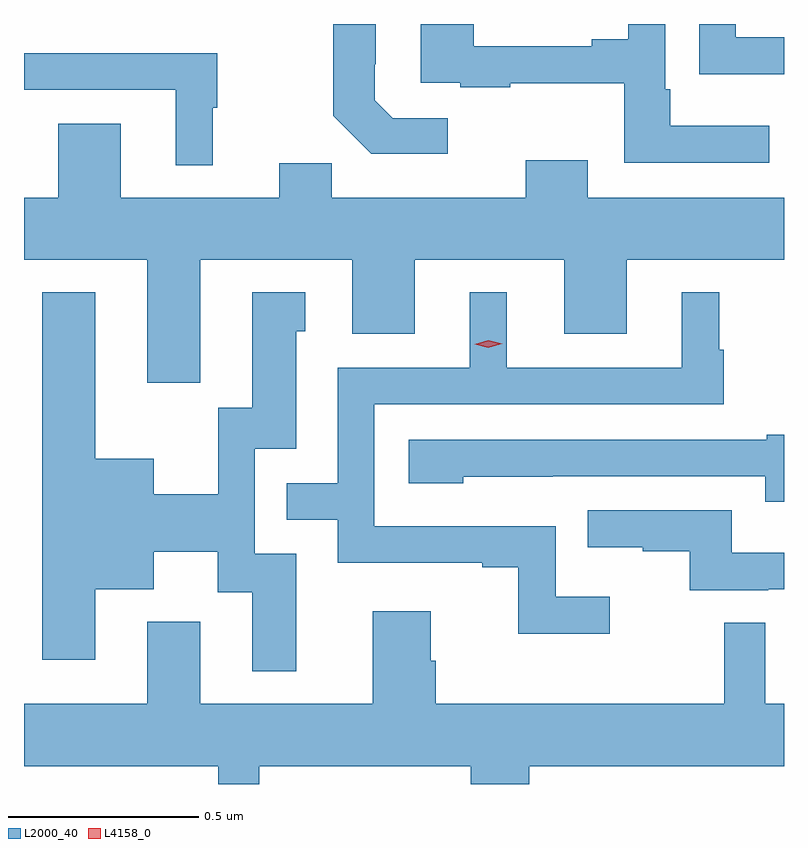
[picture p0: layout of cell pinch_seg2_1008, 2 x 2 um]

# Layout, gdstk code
import gdstk
lib = gdstk.Library(unit=1e-6, precision=1e-09)
def P(c, l, *ps):  # polygons
    for p in ps: c.add(gdstk.Polygon(p, *l))
L2000_40 = (2000, 40)
L4158_0 = (4158, 0)

pinch_seg2_1008 = lib.new_cell('pinch_seg2_1008')
P(pinch_seg2_1008, L2000_40, [(138.082,653.337),(137.937,653.337),(137.89,653.384),(137.89,653.479),(137.892,653.479),(137.892,653.585),(137.781,653.585),(137.781,653.343),(137.881,653.243),(138.082,653.243)],
  [(138.928,653.317),(138.667,653.317),(138.667,653.413),(138.654,653.413),(138.654,653.585),(138.557,653.585),(138.557,653.545),(138.461,653.545),(138.461,653.526),(138.151,653.526),(138.151,653.585),(138.011,653.585),(138.011,653.43),(138.115,653.43),(138.115,653.418),(138.247,653.418),(138.247,653.429),(138.546,653.429),(138.546,653.22),(138.928,653.22)],
  [(138.967,653.55),(138.84,653.55),(138.84,653.585),(138.744,653.585),(138.744,653.453),(138.967,653.453)],
  [(137.464,653.364),(137.476,653.364),(137.476,653.508),(136.967,653.508),(136.967,653.412),(137.366,653.412),(137.366,653.213),(137.464,653.213)],
  [(137.291,652.641),(137.431,652.641),(137.431,652.964),(137.831,652.964),(137.831,652.77),(137.995,652.77),(137.995,652.964),(138.389,652.964),(138.389,652.77),(138.553,652.77),(138.553,652.964),(138.967,652.964),(138.967,653.128),(138.451,653.128),(138.451,653.227),(138.287,653.227),(138.287,653.128),(137.777,653.128),(137.777,653.219),(137.639,653.219),(137.639,653.128),(137.221,653.128),(137.221,653.323),(137.057,653.323),(137.057,653.128),(136.967,653.128),(136.967,652.964),(137.291,652.964)],
  [(138.508,652.078),(138.366,652.078),(138.366,652.263),(137.889,652.263),(137.889,652.584),(138.808,652.584),(138.808,652.728),(138.796,652.728),(138.796,652.879),(138.698,652.879),(138.698,652.68),(138.238,652.68),(138.238,652.879),(138.14,652.879),(138.14,652.68),(137.793,652.68),(137.793,652.377),(137.659,652.377),(137.659,652.281),(137.793,652.281),(137.793,652.167),(138.173,652.167),(138.173,652.155),(138.268,652.155),(138.268,651.98),(138.508,651.98)],
  [(137.683,652.191),(137.574,652.191),(137.574,652.467),(137.683,652.467),(137.683,652.776),(137.707,652.776),(137.707,652.879),(137.567,652.879),(137.567,652.575),(137.478,652.575),(137.478,652.348),(137.308,652.348),(137.308,652.441),(137.155,652.441),(137.155,652.879),(137.015,652.879),(137.015,651.912),(137.155,651.912),(137.155,652.097),(137.308,652.097),(137.308,652.196),(137.477,652.196),(137.477,652.09),(137.567,652.09),(137.567,651.882),(137.683,651.882)],
  [(138.967,652.504),(138.921,652.504),(138.921,652.491),(137.979,652.491),(137.979,652.376),(138.123,652.376),(138.123,652.394),(138.359,652.394),(138.359,652.395),(138.917,652.395),(138.917,652.328),(138.967,652.328)],
  [(138.926,652.098),(138.967,652.098),(138.967,652.193),(138.829,652.193),(138.829,652.305),(138.451,652.305),(138.451,652.208),(138.595,652.208),(138.595,652.197),(138.719,652.197),(138.719,652.095),(138.926,652.095)],
  [(138.296,651.632),(138.967,651.632),(138.967,651.796),(138.918,651.796),(138.918,652.01),(138.81,652.01),(138.81,651.796),(138.05,651.796),(138.05,651.909),(138.037,651.909),(138.037,652.039),(137.885,652.039),(137.885,651.796),(137.431,651.796),(137.431,652.012),(137.291,652.012),(137.291,651.796),(136.967,651.796),(136.967,651.632),(137.478,651.632),(137.478,651.585),(137.586,651.585),(137.586,651.632),(138.143,651.632),(138.143,651.585),(138.296,651.585)])
P(pinch_seg2_1008, L4158_0, [(138.189,652.733),(138.153,652.742),(138.153,652.742),(138.153,652.742),(138.189,652.753),(138.225,652.744),(138.225,652.744),(138.225,652.744)])

lib.write_gds('pinch_seg2_1008.gds')
